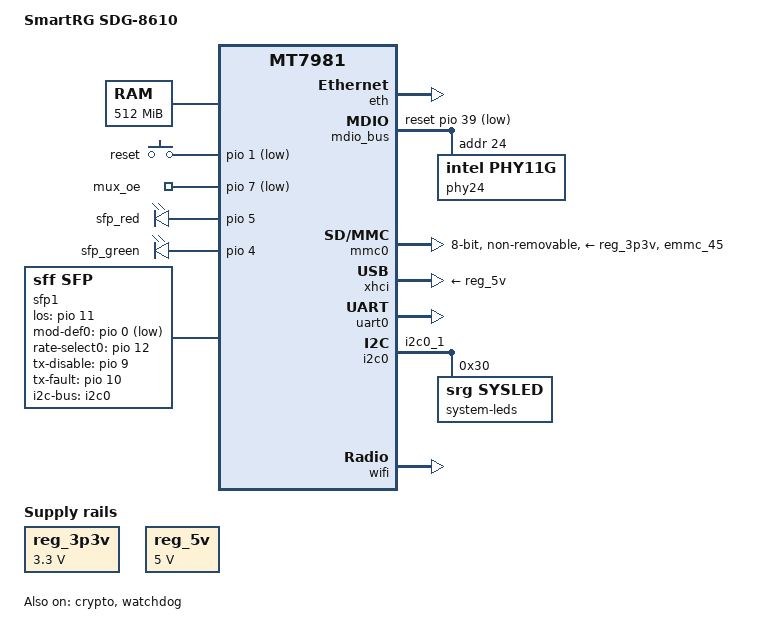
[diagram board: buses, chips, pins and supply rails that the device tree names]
// SPDX-License-Identifier: (GPL-2.0 OR MIT)
/*
 * Copyright (C) 2022 MediaTek Inc.
 * Author: Sam.Shih <sam.shih@mediatek.com>
 */

/dts-v1/;
#include "mt7981.dtsi"

/ {
	model = "SmartRG SDG-8610";
	compatible = "smartrg,sdg-8610", "mediatek,mt7981";

	aliases {
		serial0 = &uart0;
	};

	chosen {
		stdout-path = "serial0:115200n8";
	};

	memory {
		reg = <0 0x40000000 0 0x20000000>;
	};

	reserved-memory {
		#address-cells = <2>;
		#size-cells = <2>;
		ranges;

		/delete-node/ramoops@42ff0000;

		bootdata_reserved: bootdata@45000000 {
			no-map;
			reg = <0x0 0x45000000 0x0 0x00001000>;
		};

		ramoops_reserved: ramoops@45001000 {
			no-map;
			compatible = "ramoops";
			reg = <0x0 0x45001000 0x0 0x00140000>;
			ftrace-size = <0x20000>;
			record-size = <0x20000>;
			console-size = <0x20000>;
			pmsg-size = <0x80000>;
		};
	};

	bootdata {
		compatible = "bootdata";
		memory-region = <&bootdata_reserved>;
	};

	reg_3p3v: regulator-3p3v {
		compatible = "regulator-fixed";
		regulator-name = "fixed-3.3V";
		regulator-min-microvolt = <3300000>;
		regulator-max-microvolt = <3300000>;
		regulator-boot-on;
		regulator-always-on;
	};

	reg_5v: regulator-5v {
		compatible = "regulator-fixed";
		regulator-name = "fixed-5V";
		regulator-min-microvolt = <5000000>;
		regulator-max-microvolt = <5000000>;
		regulator-boot-on;
		regulator-always-on;
	};

	gpio-keys {
		compatible = "gpio-keys";
		pinctrl-names = "default";
		pinctrl-0 = <&button_pins>;

		reset {
			label = "reset";
			linux,code = <KEY_RESTART>;
			gpios = <&pio 1 GPIO_ACTIVE_LOW>;
		};
	};

	leds {
		compatible = "gpio-leds";

		mux_oe {
			label = "mux_oe";
			gpios = <&pio 7 GPIO_ACTIVE_LOW>;
			default-state = "on";
		};

		sfp_red {
			label = "sfp_red";
			gpios = <&pio 5 GPIO_ACTIVE_HIGH>;
			default-state = "off";
		};

		sfp_green {
			label = "sfp_green";
			gpios = <&pio 4 GPIO_ACTIVE_HIGH>;
			default-state = "off";
		};
	};

	sfp1: sfp1 {
		compatible = "sff,sfp";
		i2c-bus = <&i2c0>;
		los-gpios = <&pio 11 GPIO_ACTIVE_HIGH>;
		mod-def0-gpios = <&pio 0 GPIO_ACTIVE_LOW>;
		rate-select0-gpios = <&pio 12 GPIO_ACTIVE_HIGH>;
		tx-disable-gpios = <&pio 9 GPIO_ACTIVE_HIGH>;
		tx-fault-gpios = <&pio 10 GPIO_ACTIVE_HIGH>;
		maximum-power-milliwatt = <3000>;
	};
};

&eth {
	pinctrl-names = "default";
	pinctrl-0 = <&mdio_pins>;
	status = "okay";

	gmac0: mac@0 {
		label = "wan";
		compatible = "mediatek,eth-mac";
		reg = <0>;

		phy-mode = "sgmii";
		phy-handle = <&phy24>;
	};

	gmac1: mac@1 {
        label = "lan";
		compatible = "mediatek,eth-mac";
		reg = <1>;

		phy-mode = "gmii";
		phy-handle = <&int_gbe_phy>;
	};

	mux: mux-bus {
		mux0: ethernet-mux@0 {
			compatible = "mediatek,eth-mux";
			reg = <0>;
			label = "wan";

			chan-sel-gpios = <&pio 6 GPIO_ACTIVE_LOW>;
			mod-def0-gpios = <&pio 0 GPIO_ACTIVE_LOW>;

			channel0: channel@0 {
				reg = <0>;
				phy-mode = "sgmii";
				phy-handle = <&phy24>;
			};

			channel1: channel@1 {
				reg = <1>;
				phy-mode = "1000base-x";
				sfp = <&sfp1>;
				managed = "in-band-status";
			};
		};
	};
};

&mdio_bus {
	reset-gpios = <&pio 39 GPIO_ACTIVE_LOW>;
	reset-delay-us = <1500000>;
	reset-post-delay-us = <1000000>;

	phy24: ethernet-phy@24 {
		/* PEF7071 */
		compatible = "intel,phy11g", "ethernet-phy-ieee802.3-c22";
		reg = <0x18>;
	};
};

&crypto {
	status = "okay";
};

&pio {
	button_pins: button-pins {
		pins = "GPIO_RESET";
		mediatek,pull-down-adv = <0>; /* bias-disable */
	};

	i2c0_pins: i2c0-pins {
		mux {
			function = "i2c";
			groups =  "i2c0_1";
		};
	};

	mmc0_pins_default: mmc0-pins-default {
		mux {
			function = "flash";
			groups = "emmc_45";
		};
	};

	mmc0_pins_uhs: mmc0-pins-uhs {
		mux {
			function = "flash";
			groups = "emmc_45";
		};
	};

	spi2_flash_pins: spi2-pins {
		mux {
			function = "spi";
			groups = "spi2";
			/* groups = "spi2", "spi2_wp_hold"; */
		};

		conf-pu {
			/* pins = "SPI2_CS", "SPI2_HOLD", "SPI2_WP"; */
			pins = "SPI2_CS";
			drive-strength = <8>;
			bias-pull-up = <103>;
		};

		conf-pd {
			pins = "SPI2_CLK", "SPI2_MOSI", "SPI2_MISO";
			drive-strength = <8>;
			bias-pull-down = <103>;
		};
	};
};

&mmc0 {
	pinctrl-names = "default", "state_uhs";
	pinctrl-0 = <&mmc0_pins_default>;
	pinctrl-1 = <&mmc0_pins_uhs>;
	bus-width = <8>;
	max-frequency = <52000000>;
	cap-mmc-highspeed;
	vmmc-supply = <&reg_3p3v>;
	non-removable;
	status = "okay";
};

&spi2 {
	pinctrl-names = "default";
	pinctrl-0 = <&spi2_flash_pins>;
	status = "disabled";

	flash@0 {
		#address-cells = <1>;
		#size-cells = <1>;

		compatible = "jedec,spi-nor";
		reg = <0>;

		spi-max-frequency = <25000000>;
		spi-tx-bus-width = <4>;
		spi-rx-bus-width = <4>;

		partitions {
			compatible = "fixed-partitions";
			#address-cells = <1>;
			#size-cells = <1>;

			partition@00000 {
				label = "BL2";
				reg = <0x00000 0x0040000>;
			};

			partition@40000 {
				label = "u-boot-env";
				reg = <0x40000 0x0010000>;
			};

			factory: partition@50000 {
				label = "Factory";
				reg = <0x50000 0x00B0000>;
			};

			partition@100000 {
				label = "FIP";
				reg = <0x100000 0x0080000>;
			};
		};
	};
};


&xhci {
	vusb33-supply = <&reg_3p3v>;
	vbus-supply = <&reg_5v>;
	status = "okay";
};

&uart0 {
	status = "okay";
};

&usb_phy {
	status = "disabled";
};

&i2c0 {
	pinctrl-names = "default";
	pinctrl-0 = <&i2c0_pins>;
	status = "okay";

	system-leds {
		compatible = "srg,sysled";
		reg = <0x30>;

		system_red {
			label = "red";
			reg = <1>;
		};

		sys_status: system_green {
			label = "green";
			reg = <2>;
			linux,default-trigger = "timer";
		};

		system_blue {
			label = "blue";
			reg = <3>;
		};

		system_white {
			label = "white";
			reg = <4>;
		};
	};
};

&watchdog {
	status = "okay";
};

&wifi {
	status = "okay";
	mediatek,eeprom-file-offset = <0x0>;
	ieee80211-freq-limit = <2400000 2500000>, <5170000 5835000>;
};
